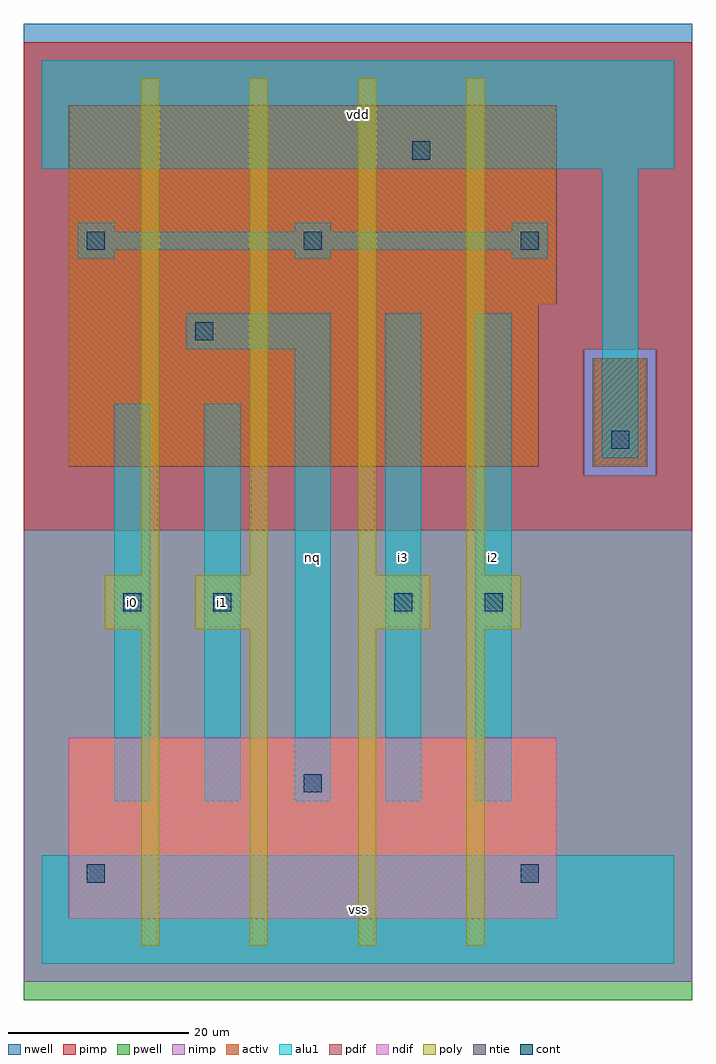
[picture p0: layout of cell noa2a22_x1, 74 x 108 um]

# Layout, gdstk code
import gdstk
lib = gdstk.Library(unit=1e-6, precision=1e-09)
def R(c, l, rs):  # rectangles x0, y0, x1, y1
    for r in rs: c.add(gdstk.rectangle(r[:2], r[2:], *l))
def A(c, l, x, y, w, h, nx, ny, dx, dy):  # array of equal rectangles
    R(c, l, [(x+i*dx, y+j*dy, x+i*dx+w, y+j*dy+h) for i in range(nx) for j in range(ny)])
ndif = (3, 0)
pdif = (4, 0)
ntie = (5, 0)
cont = (25, 0)
pwell = (41, 0)
nwell = (42, 0)
activ = (43, 0)
pimp = (44, 0)
nimp = (45, 0)
poly = (46, 0)
alu1 = (49, 0)

noa2a22_x1 = lib.new_cell('noa2a22_x1')
R(noa2a22_x1, ndif, [(3,5,57,25)])
R(noa2a22_x1, pdif, [(3,55,55,73), (3,73,57,95)])
R(noa2a22_x1, ntie, [(61,55,67,67)])
A(noa2a22_x1, cont, 5, 79, 2, 2, 3, 1, 24, 0)
R(noa2a22_x1, cont, [(5,9,7,11), (53,9,55,11), (29,19,31,21), (9,39,11,41), (19,39,21,41), (39,39,41,41), (49,39,51,41), (63,57,65,59), (17,69,19,71), (41,89,43,91)])
R(noa2a22_x1, pwell, [(-2,-4,72,48)])
R(noa2a22_x1, nwell, [(-2,48,72,104)])
R(noa2a22_x1, activ, [(3,5,57,25), (3,55,55,73), (61,55,67,67), (3,73,57,95)])
R(noa2a22_x1, pimp, [(-2,48,72,54), (-2,54,60,68), (68,54,72,68), (-2,68,72,102)])
R(noa2a22_x1, nimp, [(-2,-2,72,48), (60,54,68,68)])
A(noa2a22_x1, poly, 11, 2, 2, 35, 4, 1, 12, 0)
A(noa2a22_x1, poly, 11, 43, 2, 55, 4, 1, 12, 0)
R(noa2a22_x1, poly, [(7,37,13,43), (17,37,25,43), (35,37,43,43), (47,37,53,43)])
A(noa2a22_x1, alu1, 4, 78, 4, 1, 3, 2, 24, 3)
R(noa2a22_x1, alu1, [(0,0,70,12), (8,18,12,62), (18,18,22,62), (28,18,32,68), (38,18,42,72), (48,18,52,72), (62,56,66,88), (16,68,32,72), (4,79,56,81), (0,88,70,100)])
noa2a22_x1.add(gdstk.Label('i0', (10,40), layer=49, texttype=0))
noa2a22_x1.add(gdstk.Label('i1', (20,40), layer=49, texttype=0))
noa2a22_x1.add(gdstk.Label('nq', (30,45), layer=49, texttype=0))
noa2a22_x1.add(gdstk.Label('vss', (35,6), layer=49, texttype=0))
noa2a22_x1.add(gdstk.Label('i3', (40,45), layer=49, texttype=0))
noa2a22_x1.add(gdstk.Label('i2', (50,45), layer=49, texttype=0))
noa2a22_x1.add(gdstk.Label('vdd', (35,94), layer=49, texttype=0))

lib.write_gds('noa2a22_x1.gds')
